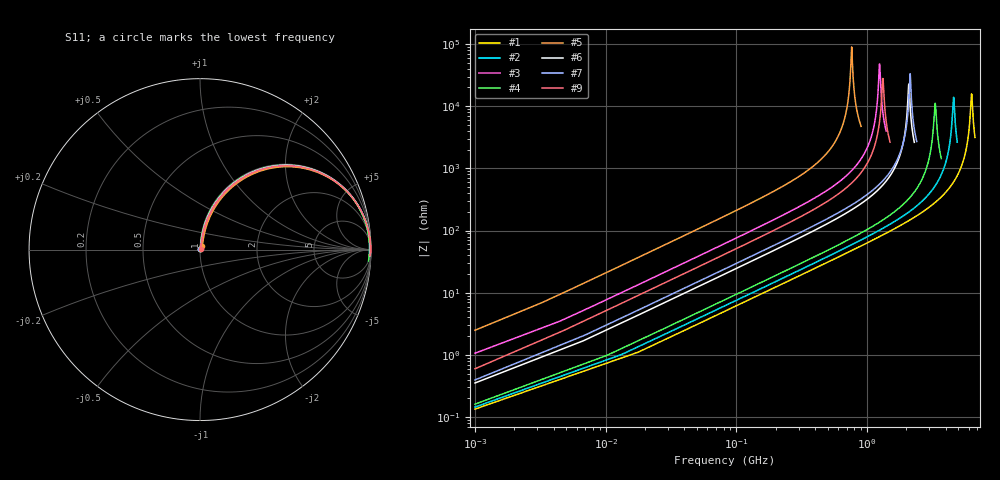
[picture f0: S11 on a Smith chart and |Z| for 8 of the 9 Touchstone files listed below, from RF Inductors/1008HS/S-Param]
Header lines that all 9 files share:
! 02 July 2002
# MHZ S MA R 50
!Freq  MagS11  AngS11  MagS21  AngS21  MagS12  AngS12  MagS22  AngS22
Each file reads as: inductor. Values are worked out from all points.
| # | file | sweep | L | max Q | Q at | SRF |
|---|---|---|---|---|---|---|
| 1 | 10HS100.S2P | 1 MHz to 6.7 GHz | 9.8 nH | 107 | 2.073 GHz | 6.301 GHz |
| 2 | 10HS120.S2P | 1 MHz to 4.9 GHz | 12 nH | 93 | 1.553 GHz | 4.583 GHz |
| 3 | 10HS121.S2P | 1 MHz to 1.4 GHz | 120 nH | 76.5 | 482.6 MHz | 1.243 GHz |
| 4 | 10HS150.S2P | 1 MHz to 3.7 GHz | 15 nH | 77.2 | 1.135 GHz | 3.32 GHz |
| 5 | 10HS331.S2P | 1 MHz to 900 MHz | 330 nH | 85 | 298.9 MHz | 762.6 MHz |
| 6 | 10HS390.S2P | 1 MHz to 2.3 GHz | 39 nH | 88.5 | 740.2 MHz | 2.087 GHz |
| 7 | 10HS470.S2P | 1 MHz to 2.4 GHz | 47 nH | 95.2 | 772.4 MHz | 2.136 GHz |
| 8 | 10HS560.S2P | 1 MHz to 1.9 GHz | 56 nH | 88.9 | 631.4 MHz | 1.679 GHz |
| 9 | 10HS820.S2P | 1 MHz to 1.5 GHz | 81 nH | 73.6 | 472.2 MHz | 1.321 GHz |
